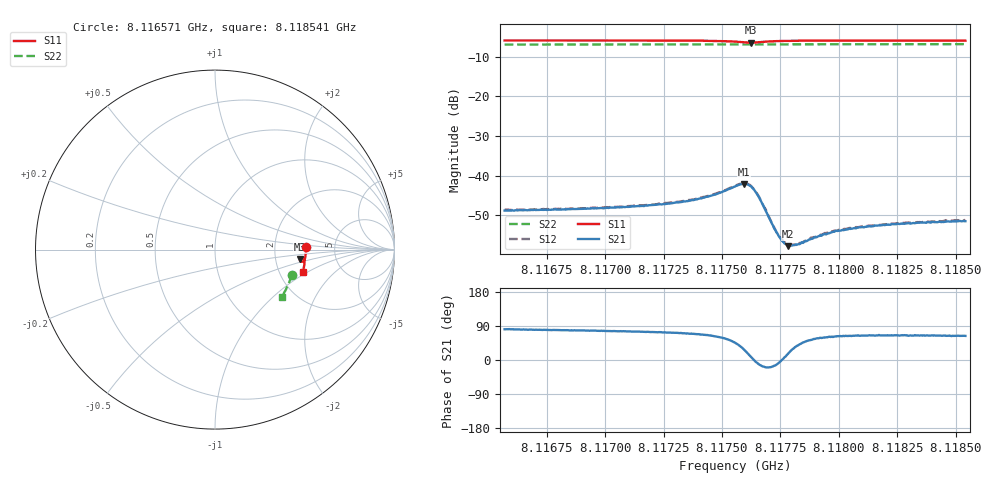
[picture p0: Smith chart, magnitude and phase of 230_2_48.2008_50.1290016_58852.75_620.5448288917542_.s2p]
#  HZ  S  RI  R  50.00
! Rohde & Schwarz Vector Network Analyzer
! Rohde-Schwarz,ZNB20-2Port,1311601062101988,3.16
! Created: UTC 3/20/2024, 11:46:19 AM
! freq[Hz]  re:S11  im:S11  re:S21  im:S21  re:S12  im:S12  re:S22  im:S22
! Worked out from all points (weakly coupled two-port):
!   401 points, 8.116571 GHz to 8.118541 GHz, reference 50 ohm
!   highest |S21| = -42.07 dB at 8.117595 GHz (marker M1); lowest = -57.8 dB at 8.117782 GHz (marker M2)
!   lowest |S11| = -6.5 dB at 8.117625 GHz (marker M3), VSWR 2.81, Z = 137 - j19.5 ohm
!   |S11| at or under -10 dB: nowhere
!   |S22| runs from -6.9 to -6.8 dB; largest |S21 - S12| = 0.0002
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8.1165705e9  0.5065 0.0158  0.000557 0.00358  0.000607 0.00362  0.4274 -0.1405
8.1169005e9  0.5061 -0.00962  0.000799 0.00373  0.00086 0.0038  0.4205 -0.1626
8.1172305e9  0.5039 -0.0362  0.00123 0.00418  0.00128 0.00425  0.4125 -0.184
8.1173931e9  0.5007 -0.0511  0.00187 0.00466  0.00193 0.00476  0.408 -0.1947
8.1174768e9  0.4966 -0.0601  0.00277 0.00518  0.00285 0.00527  0.4056 -0.2002
8.1175556e9  0.4853 -0.0679  0.0051 0.00522  0.00527 0.00526  0.4028 -0.205
8.117595e9  0.4752 -0.0645  0.00702 0.00358  0.00722 0.0036  0.4012 -0.2072
8.1176098e9  0.4725 -0.0602  0.00739 0.00236  0.00755 0.00232  0.4007 -0.2078
8.1176246e9  0.4722 -0.0549  0.00724 0.000984  0.00734 0.00097  0.4005 -0.2083
8.1176393e9  0.4745 -0.0501  0.00652 -0.000202  0.00662 -0.000224  0.3999 -0.2091
8.117659e9  0.4799 -0.0465  0.00516 -0.0011  0.00525 -0.00115  0.3998 -0.2102
8.1177181e9  0.493 -0.0506  0.00224 -0.000682  0.00227 -0.000724  0.3986 -0.2141
8.1177379e9  0.4953 -0.0534  0.00181 -0.000309  0.00181 -0.000277  0.3981 -0.2154
8.1177625e9  0.4969 -0.0569  0.00145 8.95e-05  0.00147 8.05e-05  0.3976 -0.2172
8.1177822e9  0.4976 -0.0595  0.00124 0.000363  0.00132 0.00036  0.3969 -0.2184
8.1178019e9  0.4982 -0.062  0.00116 0.00064  0.0012 0.000595  0.3963 -0.2195
8.1178265e9  0.4985 -0.0647  0.00106 0.000863  0.00106 0.000857  0.3955 -0.2213
8.1178856e9  0.4988 -0.0712  0.00095 0.00129  0.00101 0.00129  0.3936 -0.2251
8.1179841e9  0.4981 -0.0802  0.000929 0.00177  0.000959 0.00179  0.3905 -0.2312
8.1181023e9  0.4966 -0.0902  0.000976 0.00203  0.00102 0.0021  0.3864 -0.2385
8.1182156e9  0.4952 -0.0992  0.00103 0.00218  0.00108 0.00225  0.3825 -0.2456
8.1185407e9  0.4894 -0.1239  0.00119 0.00239  0.00127 0.00248  0.3706 -0.2648
